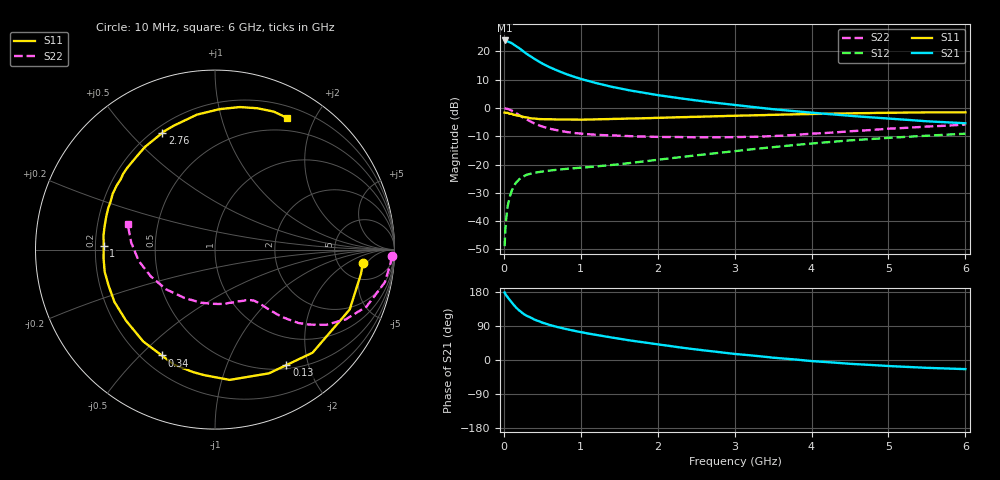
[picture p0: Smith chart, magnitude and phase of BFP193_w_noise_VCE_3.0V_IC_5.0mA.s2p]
! Infineon Technologies  Discrete & RF Semiconductors
! BFP193
! VCE = 3.0 V,  IC =  5.0 mA
! Common Emitter S-Parameters:  Jan 2016
# GHz  S  MA  R  50
!  f  S11  S21  S12  S22
! GHz  MAG  ANG  MAG  ANG  MAG  ANG  MAG  ANG
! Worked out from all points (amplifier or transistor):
!   210 points, 10 MHz to 6 GHz, reference 50 ohm
!   highest |S21| = 23.9 dB at 10 MHz (marker M1)
!   |S21| within 3 dB of that: start of sweep to 212.9 MHz
!   unconditionally stable (mu >= 1): 1.264 GHz to 3.498 GHz
!   at 185 MHz: K = 0.21, MSG = 23.5 dB, |S12| = -25.7 dB
!   at 1.52 GHz: K = 1.08, MAG = 11.6 dB, |S12| = -19.8 dB
!   at 6 GHz: K = 0.91, MSG = 1.8 dB, |S12| = -9.1 dB
!   lowest NFmin = 1.20 dB at 450 MHz
!   S11 on the Smith chart (normalised r, x): 10 MHz: 8.78, -4.04; 130 MHz: 0.55, -1.66; 340 MHz: 0.28, -0.58; 1 GHz: 0.23, +0.02; 2.76 GHz: 0.23, +0.62; 6 GHz: 0.33, +1.63
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0.01  0.8284 -5.0  15.6 177.9  0.0036 90.4  0.9884 -2.2
0.02  0.8241 -9.7  15.23 173.7  0.0071 86.0  0.9817 -4.3
0.05  0.8213 -24.0  15.04 165.2  0.0183 78.8  0.9637 -10.9
0.1  0.7908 -46.6  14.06 152.1  0.0338 67.4  0.902 -20.6
0.13  0.7564 -58.3  13.13 145.1  0.041 60.9  0.8537 -25.0
0.15  0.7521 -66.5  12.63 139.9  0.0461 57.7  0.8246 -28.2
0.2  0.7305 -83.6  11.41 130.6  0.0548 51.2  0.7473 -34.1
0.26  0.6933 -100.1  9.852 121.3  0.0622 44.7  0.6639 -38.9
0.34  0.6599 -116.7  8.3 112.8  0.0682 39.8  0.5834 -42.7
0.4  0.6496 -128.0  7.338 106.5  0.0716 36.7  0.5288 -45.2
0.48  0.6346 -138.7  6.312 100.4  0.0745 34.5  0.4804 -46.8
0.6  0.6316 -152.5  5.198 92.2  0.0783 32.6  0.4273 -48.8
0.8  0.627 -168.6  4.013 82.0  0.0833 32.0  0.3787 -51.1
1  0.6197 178.1  3.263 73.5  0.0878 33.0  0.3513 -53.6
1.02  0.6206 177.1  3.208 72.8  0.0882 33.2  0.3496 -53.9
1.4  0.6379 159.0  2.363 59.4  0.0976 36.1  0.3274 -60.5
2.02  0.6689 136.3  1.67 40.7  0.1222 40.6  0.3071 -74.8
2.76  0.7139 114.3  1.23 21.7  0.159 41.3  0.3018 -97.2
3.1  0.7317 106.2  1.09 14.3  0.1785 40.0  0.3062 -108.8
4.1  0.7862 86.5  0.804 -4.1  0.2415 32.8  0.3557 -144.4
5.1  0.8238 72.1  0.636 -16.8  0.3015 22.1  0.4356 -174.4
6  0.8365 61.4  0.536 -24.1  0.3504 11.4  0.5075 163.6
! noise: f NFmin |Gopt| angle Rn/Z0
0.45  1.2  0.26  102  0.14
0.9  1.25  0.38  145  0.12
1.8  2.05  0.56  -161  0.12
